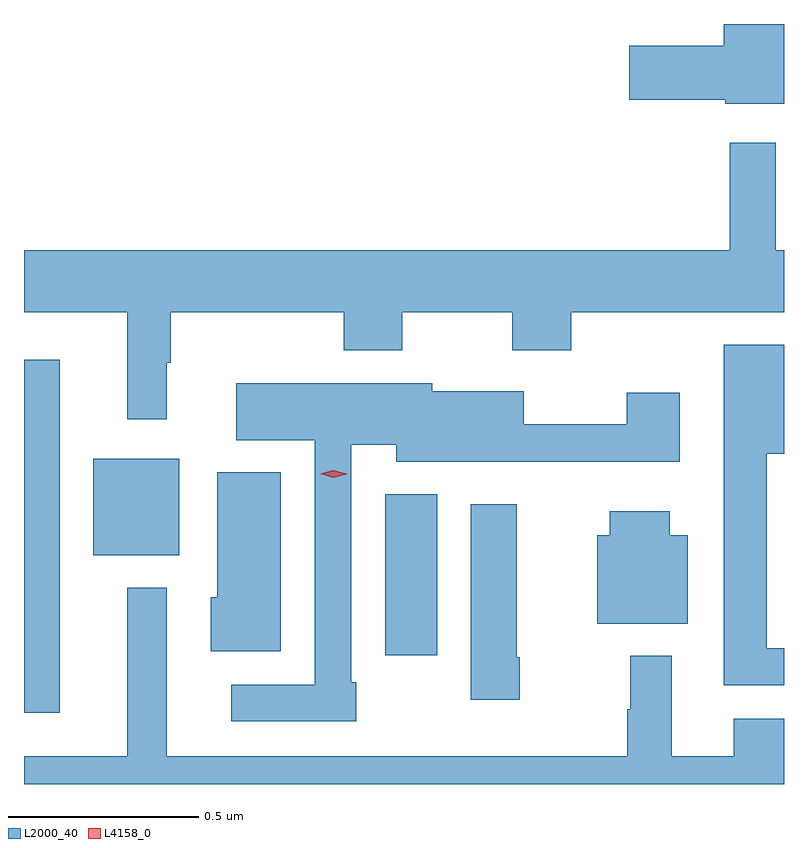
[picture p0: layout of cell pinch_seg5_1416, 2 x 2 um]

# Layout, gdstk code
import gdstk
lib = gdstk.Library(unit=1e-6, precision=1e-09)
def R(c, l, rs):  # rectangles x0, y0, x1, y1
    for r in rs: c.add(gdstk.rectangle(r[:2], r[2:], *l))
def P(c, l, *ps):  # polygons
    for p in ps: c.add(gdstk.Polygon(p, *l))
L2000_40 = (2000, 40)
L4158_0 = (4158, 0)

pinch_seg5_1416 = lib.new_cell('pinch_seg5_1416')
R(pinch_seg5_1416, L2000_40, [(202.815,911.651,202.909,912.58), (203.765,911.802,203.902,912.226), (202.997,912.065,203.224,912.319)])
P(pinch_seg5_1416, L2000_40, [(204.815,913.463),(204.656,913.463),(204.656,913.406),(204.408,913.406),(204.408,913.264),(204.66,913.264),(204.66,913.253),(204.815,913.253)],
  [(203.191,912.572),(203.201,912.572),(203.201,912.704),(203.656,912.704),(203.656,912.605),(203.811,912.605),(203.811,912.704),(204.1,912.704),(204.1,912.605),(204.255,912.605),(204.255,912.704),(204.815,912.704),(204.815,912.868),(204.793,912.868),(204.793,913.15),(204.672,913.15),(204.672,912.868),(202.815,912.868),(202.815,912.704),(203.087,912.704),(203.087,912.423),(203.191,912.423)],
  [(204.815,911.82),(204.769,911.82),(204.769,912.332),(204.815,912.332),(204.815,912.619),(204.656,912.619),(204.656,911.723),(204.815,911.723)],
  [(203.689,911.731),(203.676,911.731),(203.676,912.356),(203.795,912.356),(203.795,912.311),(204.541,912.311),(204.541,912.493),(204.401,912.493),(204.401,912.41),(204.13,912.41),(204.13,912.496),(203.889,912.496),(203.889,912.517),(203.373,912.517),(203.373,912.368),(203.58,912.368),(203.58,911.724),(203.361,911.724),(203.361,911.628),(203.689,911.628)],
  [(203.491,912.283),(203.324,912.283),(203.324,911.955),(203.306,911.955),(203.306,911.813),(203.491,911.813)],
  [(204.12,911.797),(204.112,911.797),(204.112,912.199),(203.99,912.199),(203.99,911.685),(204.12,911.685)],
  [(204.562,912.118),(204.514,912.118),(204.514,912.181),(204.356,912.181),(204.356,912.118),(204.323,912.118),(204.323,911.885),(204.562,911.885)],
  [(204.815,911.635),(204.683,911.635),(204.683,911.536),(204.52,911.536),(204.52,911.8),(204.411,911.8),(204.411,911.66),(204.403,911.66),(204.403,911.536),(203.191,911.536),(203.191,911.98),(203.087,911.98),(203.087,911.536),(202.815,911.536),(202.815,911.463),(204.815,911.463)])
P(pinch_seg5_1416, L4158_0, [(203.629,912.269),(203.594,912.28),(203.594,912.28),(203.594,912.28),(203.629,912.289),(203.664,912.279),(203.664,912.279),(203.664,912.278)])

lib.write_gds('pinch_seg5_1416.gds')
